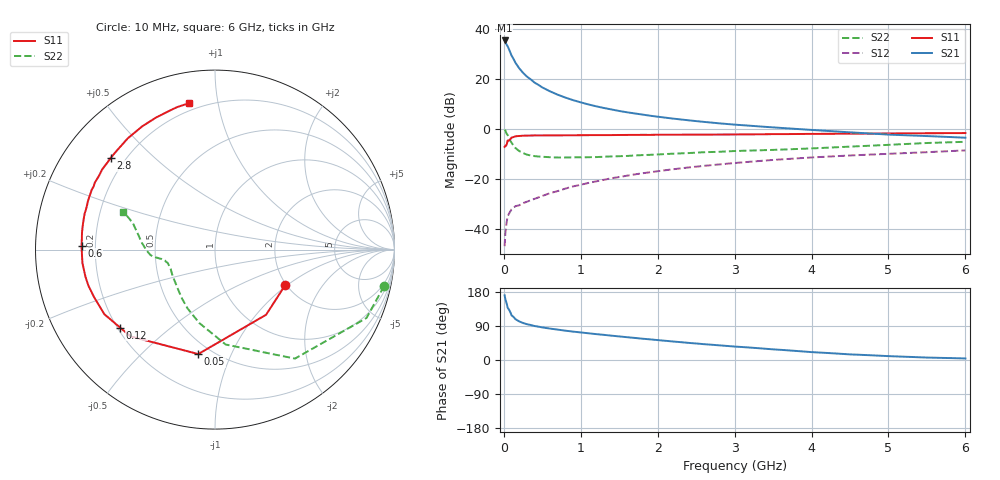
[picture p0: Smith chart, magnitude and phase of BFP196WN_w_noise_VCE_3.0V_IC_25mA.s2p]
! Infineon Technologies  Discrete & RF Semiconductors
! BFP196WN
! VCE =  3.0 V,  IC =  25 mA
! Common Emitter S-Parameters:  Jan 2017
# GHz  S  MA  R  50
!  f  S11  S21  S12  S22
! GHz  MAG  ANG  MAG  ANG  MAG  ANG  MAG  ANG
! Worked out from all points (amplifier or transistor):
!   77 points, 10 MHz to 6 GHz, reference 50 ohm
!   highest |S21| = 35.3 dB at 10 MHz (marker M1)
!   |S21| within 3 dB of that: start of sweep to 59.49 MHz
!   unconditionally stable (mu >= 1): 817 MHz to 2.752 GHz
!   at 130 MHz: K = 0.37, MSG = 29.5 dB, |S12| = -31.3 dB
!   at 2.2 GHz: K = 1.03, MAG = 9.0 dB, |S12| = -16.1 dB
!   at 6 GHz: K = 0.91, MSG = 2.5 dB, |S12| = -8.5 dB
!   lowest NFmin = 1.00 dB at 450 MHz
!   S11 on the Smith chart (normalised r, x): 10 MHz: 1.98, -0.96; 50 MHz: 0.43, -0.76; 120 MHz: 0.21, -0.34; 600 MHz: 0.15, +0.01; 2.8 GHz: 0.15, +0.37; 6 GHz: 0.16, +0.82
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0.01  0.4388 -26.5  58.1 170.7  0.0046 80.5  0.9638 -12.2
0.02  0.4613 -51.9  54.26 160.4  0.0086 74.2  0.926 -24.3
0.05  0.5893 -99.1  44.31 137.8  0.0183 55.5  0.7532 -53.7
0.1  0.6747 -134.2  29.09 117.9  0.0249 44.3  0.5322 -83.6
0.12  0.6843 -140.6  25.77 114.7  0.0264 42.6  0.4809 -89.9
0.15  0.7139 -149.7  21 107.9  0.0288 40.5  0.4181 -102.1
0.2  0.7238 -158.5  16.18 101.8  0.0301 41.4  0.3621 -114.9
0.25  0.7333 -164.1  13.14 97.6  0.0332 42.8  0.3295 -123.8
0.3  0.7374 -168.2  11.06 94.5  0.0354 45.2  0.3072 -131.0
0.4  0.7424 -174.2  8.381 89.6  0.0404 50.1  0.2869 -140.6
0.5  0.7419 -178.3  6.725 86.0  0.0461 52.5  0.2787 -147.6
0.6  0.7439 178.3  5.623 82.9  0.0525 55.5  0.2732 -152.4
0.7  0.7442 175.4  4.816 80.2  0.0577 58.1  0.2696 -155.8
0.8  0.7468 172.9  4.221 77.4  0.0647 60.5  0.2697 -158.2
1.1  0.7515 166.4  3.079 70.5  0.0839 62.3  0.2732 -163.6
1.5  0.7575 159.2  2.281 62.2  0.11 62.6  0.2861 -167.7
2.1  0.7659 149.3  1.68 50.7  0.1503 60.9  0.3155 -171.1
2.8  0.7738 138.6  1.293 38.7  0.1961 56.7  0.3502 -173.8
3.1  0.7775 133.9  1.189 34.2  0.2154 54.5  0.3666 -176.4
4.1  0.7984 119.2  0.935 19.7  0.275 46.7  0.4156 173.2
5.1  0.8136 108.3  0.761 9.5  0.3241 39.3  0.4901 161.4
6  0.828 100.2  0.669 4.1  0.3738 33.3  0.554 157.7
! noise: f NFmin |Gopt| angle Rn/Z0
0.45  1  0.43  174  0.05
0.9  1.15  0.51  182  0.05
1.9  2.08  0.68  210  0.13
2.4  2.83  0.69  217  0.23
